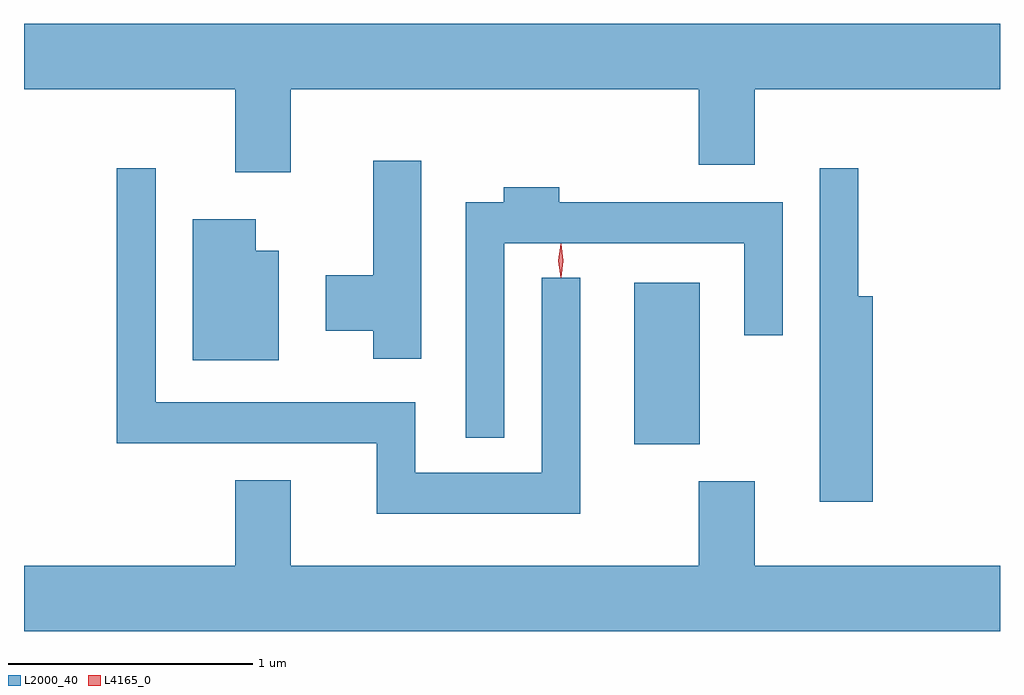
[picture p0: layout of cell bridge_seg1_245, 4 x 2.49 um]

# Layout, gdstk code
import gdstk
lib = gdstk.Library(unit=1e-6, precision=1e-09)
def R(c, l, rs):  # rectangles x0, y0, x1, y1
    for r in rs: c.add(gdstk.rectangle(r[:2], r[2:], *l))
def P(c, l, *ps):  # polygons
    for p in ps: c.add(gdstk.Polygon(p, *l))
L2000_40 = (2000, 40)
L4165_0 = (4165, 0)

bridge_seg1_245 = lib.new_cell('bridge_seg1_245')
R(bridge_seg1_245, L2000_40, [(966.356,898.121,966.624,898.784)])
P(bridge_seg1_245, L2000_40, [(964.949,899.576),(966.621,899.576),(966.621,899.266),(966.849,899.266),(966.849,899.576),(967.855,899.576),(967.855,899.844),(963.855,899.844),(963.855,899.576),(964.721,899.576),(964.721,899.236),(964.949,899.236)],
  [(965.484,899.284),(965.286,899.284),(965.286,898.814),(965.091,898.814),(965.091,898.586),(965.286,898.586),(965.286,898.471),(965.484,898.471)],
  [(967.334,898.729),(967.274,898.729),(967.274,899.253),(967.116,899.253),(967.116,897.886),(967.334,897.886)],
  [(966.134,898.803),(965.976,898.803),(965.976,898.004),(965.459,898.004),(965.459,898.294),(964.394,898.294),(964.394,899.253),(964.236,899.253),(964.236,898.126),(965.301,898.126),(965.301,897.836),(966.134,897.836)],
  [(965.824,898.946),(966.806,898.946),(966.806,898.568),(966.964,898.568),(966.964,899.114),(966.049,899.114),(966.049,899.174),(965.821,899.174),(965.821,899.114),(965.666,899.114),(965.666,898.148),(965.824,898.148)],
  [(964.899,898.914),(964.804,898.914),(964.804,899.044),(964.546,899.044),(964.546,898.466),(964.899,898.466)],
  [(967.855,897.624),(966.849,897.624),(966.849,897.969),(966.621,897.969),(966.621,897.624),(964.949,897.624),(964.949,897.974),(964.721,897.974),(964.721,897.624),(963.855,897.624),(963.855,897.356),(967.855,897.356)])
P(bridge_seg1_245, L4165_0, [(966.055,898.804),(966.055,898.804),(966.045,898.873),(966.055,898.943),(966.055,898.943),(966.056,898.943),(966.065,898.873),(966.056,898.804)])

lib.write_gds('bridge_seg1_245.gds')
